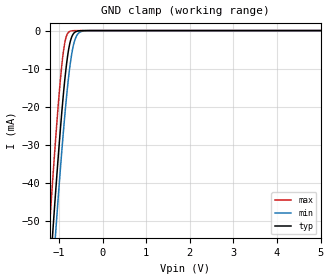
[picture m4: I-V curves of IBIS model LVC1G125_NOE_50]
| [Disclaimer] Property of Texas Instruments Incorporated. Unauthorized
| reproduction and/or distribution is strictly prohibited.
| This product is protected under copyright law.
| Created  2002, (C) Copyright  2002, Texas Instruments
| Incorporated, All Rights Reserved
| UNLESS THERE IS A SIGNED, WRITTEN AGREEMENT TO THE
| CONTRARY, TEXAS INSTRUMENTS (TI) IS PROVIDING THE IBIS
| MODELS  AND WITHOUT ANY WARRANTY, EXPRESSED OR
| IMPLIED.  TI assumes no liability for:
| 1) the accuracy of the IBIS models provided to your
| company;
| 2) the proper functioning of these IBIS Models in your
| design or for any resulting applications; or
| 3) infringement of patents, copyrights or intellectual
| property rights resulting from your use of these IBIS
| models.
| TI provides IBIS Models as a service to our customers.
| You and your company shall not distribute, sell or give
| these models to anyone else without prior written
| permission from TI.
| TI reserves the right to make changes to our products or
| to discontinue any semiconductor product or service
| without notice, and advises our customers to obtain the
| latest version of relevant information to verify, before
| placing orders, that the information being relied on is
| current.
| Please be aware that your receipt and use of the IBIS
| information provided shall serve as acceptance of these
| terms and conditions.  If you do not accept these terms,
| you should return or destroy the IBIS models and any
| other accompanying information immediately.
| From sn74lvc1g125.ibs, Texas Instruments, Inc.
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[Model]   LVC1G125_NOE_50
Model_type  Input
Vinl=1.35
Vinh=3.85
| variable   typ   min   max
C_comp   1.12pF   0.84pF   1.38pF
[Temperature Range]   40   100   -40
| Ambient temperature   25   85   -40
[Voltage range]   5   4.5   5.5
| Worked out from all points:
|   GND clamp passes 1 mA (typ) near -0.68 V on its own axis
[GND Clamp]
| LVC1G125_NOE_50
|   Voltage   I(typ)   I(min)   I(max)
-5.5V     -872.3mA   -880mA     -863mA
-1.25V    -71.03mA   -81.88mA   -57.11mA
-1.22V    -65.92mA   -76.78mA   -51.96mA
-1.14V    -52.55mA   -63.42mA   -38.55mA
-1.075V   -42.06mA   -52.87mA   -28.16mA
-980mV    -27.63mA   -38.14mA   -14.46mA
-905mV    -17.45mA   -27.36mA   -6.068mA
-835mV    -9.584mA   -18.33mA   -1.666mA
-750mV    -3.29mA    -9.411mA   -201uA
-625mV    -352.4uA   -2.117mA   -6.8uA
-455mV    -11.52uA   -138.5uA   -65.59nA
5V        1.117nA    59.61nA    9.482pA
